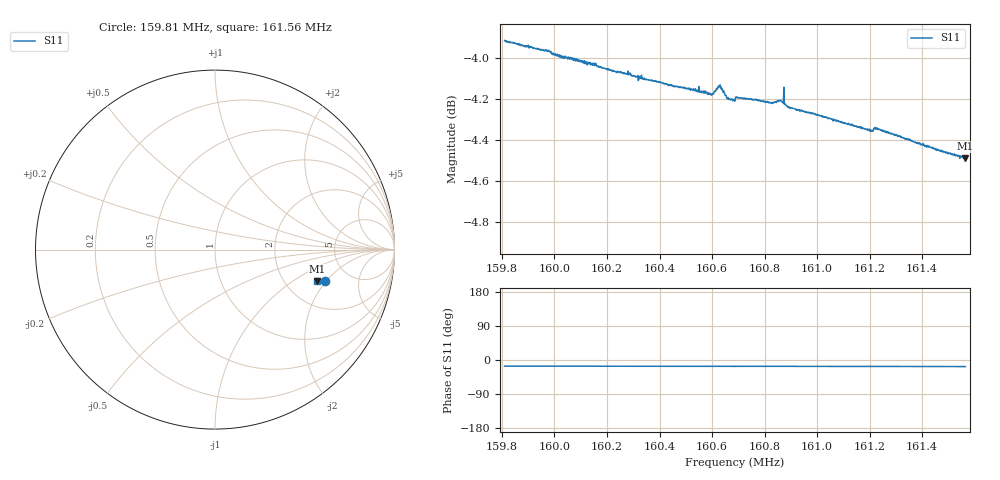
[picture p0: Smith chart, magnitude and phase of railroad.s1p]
! Calibrated averaged scanner-service zoom
# Hz S RI R 50
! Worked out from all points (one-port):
!   1001 points, 159.81 MHz to 161.56 MHz, reference 50 ohm
!   lowest |S11| = -4.5 dB at 161.56 MHz (marker M1), VSWR 3.95, Z = 148 - j81.8 ohm
!   |S11| at or under -10 dB: nowhere
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1.5981e8  0.6118 -0.1776
1.599732e8  0.608 -0.177
1.599995e8  0.6062 -0.1782
1.600294e8  0.6054 -0.1771
1.60061e8  0.6055 -0.1773
1.602488e8  0.6002 -0.1774
1.604681e8  0.595 -0.1776
1.605541e8  0.593 -0.177
1.605927e8  0.5924 -0.1776
1.60605e8  0.5922 -0.1773
1.606243e8  0.5948 -0.1785
1.606296e8  0.5951 -0.1785
1.606384e8  0.5938 -0.1785
1.606647e8  0.5903 -0.1773
1.606787e8  0.5899 -0.1771
1.606875e8  0.5897 -0.1776
1.60698e8  0.591 -0.1769
1.608244e8  0.5892 -0.1771
1.60863e8  0.5902 -0.1762
1.608648e8  0.5899 -0.1763
1.608823e8  0.5883 -0.1769
1.608876e8  0.5877 -0.1773
1.609069e8  0.5871 -0.1774
1.611262e8  0.5813 -0.1774
1.612052e8  0.5789 -0.1776
1.612298e8  0.5797 -0.1767
1.613456e8  0.5764 -0.177
1.61565e8  0.5693 -0.1774
